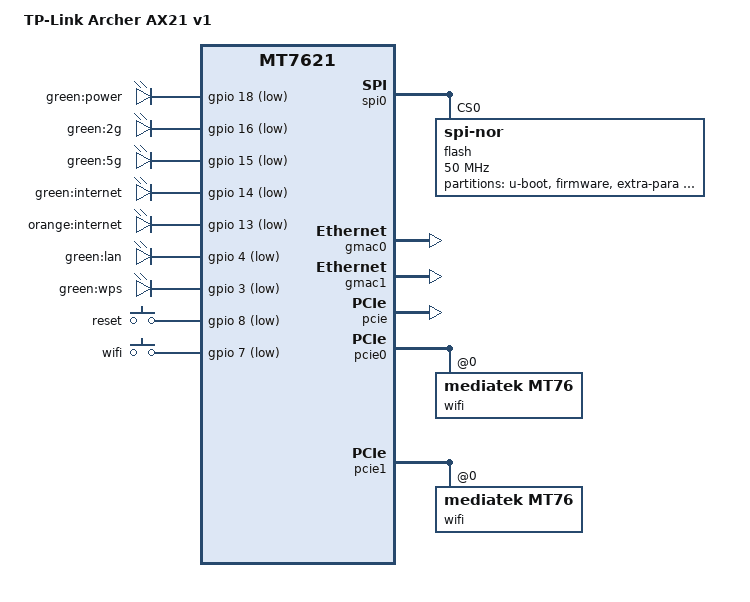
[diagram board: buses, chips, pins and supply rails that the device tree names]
// SPDX-License-Identifier: GPL-2.0-or-later OR MIT
/dts-v1/;

#include "mt7621.dtsi"

#include <dt-bindings/gpio/gpio.h>
#include <dt-bindings/input/input.h>

/ {
	compatible = "tplink,archer-ax21-v1", "mediatek,mt7621-soc";
	model = "TP-Link Archer AX21 v1";

	aliases {
		led-boot = &led_power;
		led-failsafe = &led_power;
		led-running = &led_power;
		led-upgrade = &led_power;
	};

	chosen {
		bootargs = "console=ttyS0,115200";
	};

	leds {
		compatible = "gpio-leds";

		led_power: power {
			label = "green:power";
			gpios = <&gpio 18 GPIO_ACTIVE_LOW>;
		};

		led_2g: 2g {
			label = "green:2g";
			gpios = <&gpio 16 GPIO_ACTIVE_LOW>;
		};

		led_5g: 5g {
			label = "green:5g";
			gpios = <&gpio 15 GPIO_ACTIVE_LOW>;
		};

		internet_green {
			label = "green:internet";
			gpios = <&gpio 14 GPIO_ACTIVE_LOW>;
		};

		internet_orange {
			label = "orange:internet";
			gpios = <&gpio 13 GPIO_ACTIVE_LOW>;
		};

		lan {
			label = "green:lan";
			gpios = <&gpio 4 GPIO_ACTIVE_LOW>;
		};

		wps {
			label = "green:wps";
			gpios = <&gpio 3 GPIO_ACTIVE_LOW>;
		};
	};

	keys {
		compatible = "gpio-keys";

		reset {
			label = "reset";
			gpios = <&gpio 8 GPIO_ACTIVE_LOW>;
			linux,code = <KEY_RESTART>;
		};

		wifi {
			label = "wifi";
			gpios = <&gpio 7 GPIO_ACTIVE_LOW>;
			linux,code = <KEY_WPS_BUTTON>;
		};
	};
};

&spi0 {
	status = "okay";

	flash@0 {
		compatible = "jedec,spi-nor";
		reg = <0>;
		spi-max-frequency = <50000000>;

		partitions {
			compatible = "fixed-partitions";
			#address-cells = <1>;
			#size-cells = <1>;

			partition@0 {
				label = "u-boot";
				reg = <0x0 0x40000>;
				read-only;
			};

			firmware: partition@40000 {
				compatible = "tplink,firmware";
				label = "firmware";
				reg = <0x40000 0xf60000>;
			};

			partition@fa0000 {
				label = "extra-para";
				reg = <0xfa0000 0x10000>;
				read-only;
			};

			partition@fb0000 {
				label = "default-config";
				reg = <0xfb0000 0x10000>;
				read-only;
			};

			partition@fc0000 {
				label = "user-config";
				reg = <0xfc0000, 0x10000>;
				read-only;
			};

			partition@fd0000 {
				label = "ag-config";
				reg = <0xfd0000, 0x10000>;
				read-only;
			};

			partition@fe0000 {
				label = "partition-table";
				reg = <0xfe0000, 0x10000>;
				read-only;
			};

			radio: partition@ff0000 {
				label = "radio";
				reg = <0xff0000 0x10000>;
				read-only;
			};
		};
	};
};

&gmac0 {
	status = "okay";
};

&gmac1 {
	status = "okay";
};

&pcie {
	status = "okay";
};

&pcie0 {
	wifi@0,0 {
		compatible = "mediatek,mt76";
		reg = <0x0000 0 0 0 0>;
		mediatek,mtd-eeprom = <&radio 0x0>;
		ieee80211-freq-limit = <2400000 2483500>;
	};
};

&pcie1 {
	wifi@0,0 {
		compatible = "mediatek,mt76";
		reg = <0x0000 0 0 0 0>;
		mediatek,mtd-eeprom = <&radio 0x8000>;
		ieee80211-freq-limit = <5150000 5875000>;
	};
};

&gsw {
	mediatek,portmap = "wllll";
};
